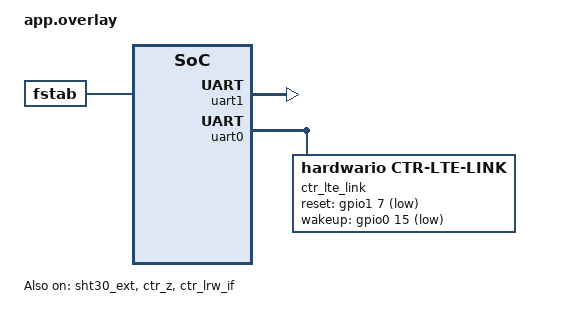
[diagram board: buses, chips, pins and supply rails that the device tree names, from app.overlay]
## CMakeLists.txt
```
#
# Copyright (c) 2024 HARDWARIO a.s.
#
# SPDX-License-Identifier: LicenseRef-HARDWARIO-5-Clause
#

cmake_minimum_required(VERSION 3.20.0)

set(ENV{FW_BUNDLE} "com.hardwario.chester.app.push")
set(ENV{FW_NAME} "CHESTER Push")

# Derive firmware version from git (see scripts/version.cmake); the fallback is
# used when git is unavailable at build time.
set(FW_VERSION_FALLBACK "v3.0.0")
include(${CMAKE_CURRENT_SOURCE_DIR}/../../scripts/version.cmake)

find_package(Zephyr REQUIRED HINTS $ENV{ZEPHYR_BASE})

project(chester-push)

include(${ZEPHYR_CHESTER_MODULE_DIR}/scripts/app_codec.cmake)

target_sources(app PRIVATE src/app_cbor.c)
target_sources(app PRIVATE src/app_config.c)
target_sources(app PRIVATE src/app_data.c)
target_sources(app PRIVATE src/app_handler.c)
target_sources(app PRIVATE src/app_init.c)
target_sources(app PRIVATE src/app_lrw.c)
target_sources(app PRIVATE src/app_send.c)
target_sources(app PRIVATE src/app_sensor.c)
target_sources(app PRIVATE src/app_shell.c)
target_sources(app PRIVATE src/app_work.c)
target_sources(app PRIVATE src/main.c)

target_precompile_headers(app PRIVATE src/feature.h)

# ### Preserved code "cmake" (begin)
# ^^^ Preserved code "cmake" (end)
```

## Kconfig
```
#
# Copyright (c) 2024 HARDWARIO a.s.
#
# SPDX-License-Identifier: LicenseRef-HARDWARIO-5-Clause
#

menu "Application"

# HARDWARE-CHESTER-S2
config SHIELD_CTR_S2
	bool "Enable SHIELD_CTR_S2"
	default y

config CTR_HYGRO
	default y
# HARDWARE-CHESTER-Z
config SHIELD_CTR_Z
	bool "Enable SHIELD_CTR_Z"
	default y

config CTR_Z
	default y

config I2C
	default y
# SUBSYSTEM-LRW
config SHIELD_CTR_LRW
	bool "Enable SHIELD_CTR_LRW"
	default y

config CTR_LRW
	default y
# SUBSYSTEM-LTE-V2
config SHIELD_CTR_LTE_V2
	bool "Enable SHIELD_CTR_LTE_V2"
	default y

config CTR_LTE_V2
	default y

# ### Preserved code "k_config" (begin)
# ^^^ Preserved code "k_config" (end)

rsource "Kconfig.variant"

endmenu

menu "Zephyr Kernel"
source "Kconfig.zephyr"
endmenu
```

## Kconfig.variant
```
#
# Copyright (c) 2024 HARDWARIO a.s.
#
# SPDX-License-Identifier: LicenseRef-HARDWARIO-5-Clause
#

config VARIANT_CHESTER_PUSH
    bool "Enable VARIANT_CHESTER_PUSH"
    default y
        
```

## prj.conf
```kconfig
#
# Copyright (c) 2024 HARDWARIO a.s.
#
# SPDX-License-Identifier: LicenseRef-HARDWARIO-5-Clause
#

# Configurations
# SUBSYSTEM-ACCEL
CONFIG_CTR_ACCEL=y
# SUBSYSTEM-BATT
CONFIG_CTR_BATT=y
# SUBSYSTEM-BLE-TAG
CONFIG_CTR_BLE_TAG=y
# SUBSYSTEM-BLUETOOTH
CONFIG_CTR_BLE=y
# SUBSYSTEM-BT-FILTER-ACCEPT-LIST
CONFIG_BT_FILTER_ACCEPT_LIST=y
# SUBSYSTEM-BT-OBSERVER
CONFIG_BT_OBSERVER=y
# SUBSYSTEM-BUF
CONFIG_CTR_BUF=y
# SUBSYSTEM-BUTTON
CONFIG_CTR_BUTTON=y
# SUBSYSTEM-CLOUD
CONFIG_CTR_CLOUD=y
CONFIG_SETTINGS_SHELL=y
CONFIG_IMG_MANAGER=y
CONFIG_BOOTLOADER_MCUBOOT=y
CONFIG_SPI=y
CONFIG_DFU_TARGET=y
CONFIG_DFU_TARGET_STREAM=y
CONFIG_DFU_TARGET_MCUBOOT=y
CONFIG_DFU_TARGET_LOG_LEVEL_DBG=y
CONFIG_STREAM_FLASH_ERASE=y
CONFIG_STREAM_FLASH=y
CONFIG_FILE_SYSTEM=y
CONFIG_FILE_SYSTEM_LITTLEFS=y
CONFIG_FILE_SYSTEM_MKFS=y
CONFIG_FILE_SYSTEM_SHELL=y
CONFIG_SETTINGS_FILE=y
CONFIG_SETTINGS_FILE_PATH="/lfs1/settings/run"
# SUBSYSTEM-CONFIG
CONFIG_CTR_CONFIG=y
# SUBSYSTEM-DEFAULTS
CONFIG_CTR_DEFAULTS=y
# SUBSYSTEM-ENTROPY-GENERATOR
CONFIG_ENTROPY_GENERATOR=y
# SUBSYSTEM-INFO
CONFIG_CTR_INFO=y
# SUBSYSTEM-LED
CONFIG_CTR_LED=y
# SUBSYSTEM-LOG
CONFIG_CTR_LOG=y
# SUBSYSTEM-LRW
CONFIG_CTR_LRW=y
# SUBSYSTEM-LTE-V2
CONFIG_CTR_LTE_V2=y
# SUBSYSTEM-POWER
CONFIG_CTR_POWER=y
# SUBSYSTEM-RTC
CONFIG_CTR_RTC=y
# SUBSYSTEM-SHELL
CONFIG_CTR_SHELL=y
# SUBSYSTEM-THERM
CONFIG_CTR_THERM=y
# SUBSYSTEM-WDOG
CONFIG_CTR_WDOG=y
# SUBSYSTEM-ZCBOR
CONFIG_ZCBOR=y
CONFIG_ZCBOR_STOP_ON_ERROR=y
# Extra configurations
CONFIG_ADC_NRFX_SAADC=n
CONFIG_ADC_SHELL=n
CONFIG_GPIO_SHELL=y
CONFIG_I2C_SHELL=y
CONFIG_ISR_TABLES_LOCAL_DECLARATION=y
CONFIG_LTO=y
CONFIG_MCUBOOT_SHELL=y

# ### Preserved code "config" (begin)
CONFIG_BUILD_OUTPUT_META=y
CONFIG_BUILD_OUTPUT_META_STATE_PROPAGATE=y
CONFIG_CTR_CLOUD_SPOOL=y
# ^^^ Preserved code "config" (end)
```

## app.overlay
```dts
/*
 * Copyright (c) 2024 HARDWARIO a.s.
 *
 * SPDX-License-Identifier: LicenseRef-HARDWARIO-5-Clause
 */

/* HARDWARE-CHESTER-S2  */
&sht30_ext {
	status = "okay";
};
/* HARDWARE-CHESTER-Z  */
&ctr_z {
	status = "okay";
};
/* SUBSYSTEM-CLOUD  */
/ {
	fstab {
		compatible = "zephyr,fstab";
		lfs1: lfs1 {
			compatible = "zephyr,fstab,littlefs";
			mount-point = "/lfs1";
			partition = <&littlefs_storage>;
			automount;
			read-size = <16>;
			prog-size = <16>;
			cache-size = <64>;
			lookahead-size = <32>;
			block-cycles = <512>;
		};
	};
};
/* SUBSYSTEM-LRW   */
&ctr_lrw_if {
	status = "okay";
};

&uart1 {
	status = "okay";
};
/* SUBSYSTEM-LTE-V2  */
/ {
	chosen {
		ctr,lte_link = &ctr_lte_link;
	};
};

&uart0 {
	status = "okay";

	ctr_lte_link: ctr_lte_link {
		compatible = "hardwario,ctr-lte-link";
		status = "okay";
		reset-gpios = <&gpio1 7 (GPIO_ACTIVE_LOW | GPIO_OPEN_DRAIN)>;
		wakeup-gpios = <&gpio0 15 (GPIO_ACTIVE_LOW | GPIO_OPEN_DRAIN)>;
	};
};

&uart0 {
	status = "okay";
};

/* ### Preserved code "overlay" (begin) */
/* ^^^ Preserved code "overlay" (end) */
```

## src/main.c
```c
/*
 * Copyright (c) 2024 HARDWARIO a.s.
 *
 * SPDX-License-Identifier: LicenseRef-HARDWARIO-5-Clause
 */

#include "app_config.h"
#include "app_init.h"

/* CHESTER includes */
#include <chester/ctr_led.h>
#include <chester/ctr_wdog.h>

/* Zephyr includes */
#include <zephyr/kernel.h>
#include <zephyr/logging/log.h>

/* Standard includes */
#include <stdbool.h>

LOG_MODULE_REGISTER(main, LOG_LEVEL_DBG);

extern struct ctr_wdog_channel g_app_wdog_channel;

int main(void)
{
	int ret;

	LOG_INF("Build time: " __DATE__ " " __TIME__);

	ret = app_init();
	if (ret) {
		LOG_ERR("Call `app_init` failed: %d", ret);
		k_oops();
	}

	for (;;) {
		LOG_INF("Alive");

		ret = ctr_wdog_feed(&g_app_wdog_channel);
		if (ret) {
			LOG_ERR("Call `ctr_wdog_feed` failed: %d", ret);
			k_oops();
		}

		if (g_app_config.mode == APP_CONFIG_MODE_NONE) {
			ctr_led_set(CTR_LED_CHANNEL_Y, true);
			k_sleep(K_MSEC(30));
			ctr_led_set(CTR_LED_CHANNEL_Y, false);
		} else {
			ctr_led_set(CTR_LED_CHANNEL_G, true);
			k_sleep(K_MSEC(30));
			ctr_led_set(CTR_LED_CHANNEL_G, false);
		}

		k_sleep(K_SECONDS(5));
	}

	return 0;
}
```

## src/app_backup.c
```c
/*
 * Copyright (c) 2024 HARDWARIO a.s.
 *
 * SPDX-License-Identifier: LicenseRef-HARDWARIO-5-Clause
 */

#include "app_backup.h"
#include "app_data.h"

/* CHESTER includes */
#include <chester/drivers/ctr_z.h>

/* Zephyr includes */
#include <zephyr/device.h>
#include <zephyr/devicetree.h>
#include <zephyr/kernel.h>
#include <zephyr/logging/log.h>

/* Standard includes */
#include <errno.h>
#include <math.h>
#include <stdbool.h>

LOG_MODULE_REGISTER(app_backup, LOG_LEVEL_DBG);

#if defined(FEATURE_HARDWARE_CHESTER_Z)

int app_backup_sample(void)
{
	int ret;

	static const struct device *dev = DEVICE_DT_GET(DT_NODELABEL(ctr_z));

	if (!device_is_ready(dev)) {
		LOG_ERR("Device not ready");
		ret = -ENODEV;
		goto error;
	}

	struct ctr_z_status status;
	ret = ctr_z_get_status(dev, &status);
	if (ret) {
		LOG_ERR("Call `ctr_z_get_status` failed: %d", ret);
		goto error;
	}

	LOG_INF("DC input connected: %d", status.dc_input_connected);

	uint16_t vdc;
	ret = ctr_z_get_vdc_mv(dev, &vdc);
	if (ret) {
		LOG_ERR("Call `ctr_z_get_vdc_mv` failed: %d", ret);
		goto error;
	}

	LOG_INF("Voltage DC input: %u mV", vdc);

	uint16_t vbat;
	ret = ctr_z_get_vbat_mv(dev, &vbat);
	if (ret) {
		LOG_ERR("Call `ctr_z_get_vbat_mv` failed: %d", ret);
		goto error;
	}

	LOG_INF("Voltage backup battery: %u mV", vbat);

	app_data_lock();
	g_app_data.backup.line_present = status.dc_input_connected;
	g_app_data.backup.line_voltage = vdc / 1000.f;
	g_app_data.backup.battery_voltage = vbat / 1000.f;
	app_data_unlock();

	return 0;

error:
	app_data_lock();
	g_app_data.backup.line_present = false;
	g_app_data.backup.line_voltage = NAN;
	g_app_data.backup.battery_voltage = NAN;
	app_data_unlock();

	return ret;
}

int app_backup_clear(void)
{
	app_data_lock();
	g_app_data.backup.event_count = 0;

	for (int i = 0; i < APP_DATA_BUTTON_COUNT; i++) {
		g_app_data.button[i].event_count = 0;
	}
	app_data_unlock();

	return 0;
}

#endif /* defined(FEATURE_HARDWARE_CHESTER_Z) */
```

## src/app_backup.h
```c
/*
 * Copyright (c) 2024 HARDWARIO a.s.
 *
 * SPDX-License-Identifier: LicenseRef-HARDWARIO-5-Clause
 */

#ifndef APP_BACKUP_H_
#define APP_BACKUP_H_

#ifdef __cplusplus
extern "C" {
#endif

int app_backup_sample(void);
int app_backup_clear(void);

#ifdef __cplusplus
}
#endif

#endif /* APP_BACKUP_H_ */
```

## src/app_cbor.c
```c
/*
 * Copyright (c) 2024 HARDWARIO a.s.
 *
 * SPDX-License-Identifier: LicenseRef-HARDWARIO-5-Clause
 */

#include "app_cbor.h"
#include "app_codec.h"
#include "app_config.h"
#include "app_data.h"
#include "feature.h"

/* CHESTER includes */
#include <chester/ctr_info.h>
#include <chester/ctr_lte_v2.h>
#include <chester/ctr_rtc.h>
#include <chester/ctr_util.h>

/* Zephyr includes */
#include <zephyr/kernel.h>
#include <zephyr/logging/log.h>

#include <zcbor_common.h>
#include <zcbor_decode.h>
#include <zcbor_encode.h>

/* Standard includes */
#include <errno.h>
#include <math.h>
#include <stdbool.h>
#include <stddef.h>
#include <stdint.h>
#include <stdlib.h>

/* ### Preserved code "functions" (begin) */
#include <chester/ctr_power.h>

__unused static void put_sample_mul(zcbor_state_t *zs, struct ctr_data_aggreg *sample, float mul)
{
	if (isnan(sample->min)) {
		zcbor_nil_put(zs, NULL);
	} else {
		int32_t v = sample->min * mul;
		zcbor_int32_put(zs, v);
	}

	if (isnan(sample->max)) {
		zcbor_nil_put(zs, NULL);
	} else {
		int32_t v = sample->max * mul;
		zcbor_int32_put(zs, v);
	}

	if (isnan(sample->avg)) {
		zcbor_nil_put(zs, NULL);
	} else {
		int32_t v = sample->avg * mul;
		zcbor_int32_put(zs, v);
	}

	if (isnan(sample->mdn)) {
		zcbor_nil_put(zs, NULL);
	} else {
		int32_t v = sample->mdn * mul;
		zcbor_int32_put(zs, v);
	}
}

__unused static void put_sample(zcbor_state_t *zs, struct ctr_data_aggreg *sample)
{
	put_sample_mul(zs, sample, 1.f);
}
/* ^^^ Preserved code "functions" (end) */

LOG_MODULE_REGISTER(app_cbor, LOG_LEVEL_DBG);

static int encode(zcbor_state_t *zs)
{
	int ret;

	zs->constant_state->stop_on_error = true;

	zcbor_map_start_encode(zs, ZCBOR_VALUE_IS_INDEFINITE_LENGTH);

	/* ### Preserved code "message" (begin) */

	zcbor_uint32_put(zs, CODEC_KEY_E_MESSAGE);
	{
		zcbor_map_start_encode(zs, ZCBOR_VALUE_IS_INDEFINITE_LENGTH);

		zcbor_uint32_put(zs, CODEC_KEY_E_MESSAGE__VERSION);
		zcbor_uint32_put(zs, 1);

		zcbor_uint32_put(zs, CODEC_KEY_E_MESSAGE__SEQUENCE);
		static uint32_t sequence;
		zcbor_uint32_put(zs, sequence++);

		uint64_t timestamp;
		ret = ctr_rtc_get_ts(&timestamp);
		if (ret) {
			LOG_ERR("Call `ctr_rtc_get_ts` failed: %d", ret);
			return ret;
		}
		zcbor_uint32_put(zs, CODEC_KEY_E_MESSAGE__TIMESTAMP);
		zcbor_uint64_put(zs, timestamp);

		zcbor_map_end_encode(zs, ZCBOR_VALUE_IS_INDEFINITE_LENGTH);
	}

	/* ^^^ Preserved code "message" (end) */

	/* ### Preserved code "attribute" (begin) */

	zcbor_uint32_put(zs, CODEC_KEY_E_ATTRIBUTE);
	{
		zcbor_map_start_encode(zs, ZCBOR_VALUE_IS_INDEFINITE_LENGTH);

		char *vendor_name;
		ctr_info_get_vendor_name(&vendor_name);

		zcbor_uint32_put(zs, CODEC_KEY_E_ATTRIBUTE__VENDOR_NAME);
		zcbor_tstr_put_term(zs, vendor_name, CONFIG_ZCBOR_MAX_STR_LEN);

		char *product_name;
		ctr_info_get_product_name(&product_name);

		zcbor_uint32_put(zs, CODEC_KEY_E_ATTRIBUTE__PRODUCT_NAME);
		zcbor_tstr_put_term(zs, product_name, CONFIG_ZCBOR_MAX_STR_LEN);

		char *hw_variant;
		ctr_info_get_hw_variant(&hw_variant);

		zcbor_uint32_put(zs, CODEC_KEY_E_ATTRIBUTE__HW_VARIANT);
		zcbor_tstr_put_term(zs, hw_variant, CONFIG_ZCBOR_MAX_STR_LEN);

		char *hw_revision;
		ctr_info_get_hw_revision(&hw_revision);

		zcbor_uint32_put(zs, CODEC_KEY_E_ATTRIBUTE__HW_REVISION);
		zcbor_tstr_put_term(zs, hw_revision, CONFIG_ZCBOR_MAX_STR_LEN);

		char *fw_version;
		ctr_info_get_fw_version(&fw_version);

		zcbor_uint32_put(zs, CODEC_KEY_E_ATTRIBUTE__FW_VERSION);
		zcbor_tstr_put_term(zs, fw_version, CONFIG_ZCBOR_MAX_STR_LEN);

		char *serial_number;
		ctr_info_get_serial_number(&serial_number);

		zcbor_uint32_put(zs, CODEC_KEY_E_ATTRIBUTE__SERIAL_NUMBER);
		zcbor_tstr_put_term(zs, serial_number, CONFIG_ZCBOR_MAX_STR_LEN);

		zcbor_map_end_encode(zs, ZCBOR_VALUE_IS_INDEFINITE_LENGTH);
	}

	/* ^^^ Preserved code "attribute" (end) */

	/* ### Preserved code "system" (begin) */

	zcbor_uint32_put(zs, CODEC_KEY_E_SYSTEM);
	{
		zcbor_map_start_encode(zs, ZCBOR_VALUE_IS_INDEFINITE_LENGTH);

		zcbor_uint32_put(zs, CODEC_KEY_E_SYSTEM__UPTIME);
		zcbor_uint32_put(zs, k_uptime_get() / 1000);

		zcbor_map_end_encode(zs, ZCBOR_VALUE_IS_INDEFINITE_LENGTH);
	}

	/* ^^^ Preserved code "system" (end) */

	/* ### Preserved code "network" (begin) */

	zcbor_uint32_put(zs, CODEC_KEY_E_NETWORK);
	{
		zcbor_map_start_encode(zs, ZCBOR_VALUE_IS_INDEFINITE_LENGTH);

		zcbor_uint32_put(zs, CODEC_KEY_E_NETWORK__PARAMETER);
		{
			zcbor_map_start_encode(zs, ZCBOR_VALUE_IS_INDEFINITE_LENGTH);

			static struct ctr_lte_v2_conn_param conn_param;
			ret = ctr_lte_v2_get_conn_param(&conn_param);
			if (ret) {
				LOG_ERR("Call `ctr_lte_v2_state_get_conn_param` failed: %d", ret);
				return ret;
			}

			zcbor_uint32_put(zs, CODEC_KEY_E_NETWORK__PARAMETER__EEST);
			if (conn_param.valid) {
				zcbor_int32_put(zs, conn_param.eest);
			} else {
				zcbor_nil_put(zs, NULL);
			}

			zcbor_uint32_put(zs, CODEC_KEY_E_NETWORK__PARAMETER__ECL);
			if (conn_param.valid) {
				zcbor_int32_put(zs, conn_param.ecl);
			} else {
				zcbor_nil_put(zs, NULL);
			}

			zcbor_uint32_put(zs, CODEC_KEY_E_NETWORK__PARAMETER__RSRP);
			if (conn_param.valid) {
				zcbor_int32_put(zs, conn_param.rsrp);
			} else {
				zcbor_nil_put(zs, NULL);
			}

			zcbor_uint32_put(zs, CODEC_KEY_E_NETWORK__PARAMETER__RSRQ);
			if (conn_param.valid) {
				zcbor_int32_put(zs, conn_param.rsrq);
			} else {
				zcbor_nil_put(zs, NULL);
			}

			zcbor_uint32_put(zs, CODEC_KEY_E_NETWORK__PARAMETER__SNR);
			if (conn_param.valid) {
				zcbor_int32_put(zs, conn_param.snr);
			} else {
				zcbor_nil_put(zs, NULL);
			}

			zcbor_uint32_put(zs, CODEC_KEY_E_NETWORK__PARAMETER__PLMN);
			if (conn_param.valid) {
				zcbor_int32_put(zs, conn_param.plmn);
			} else {
				zcbor_nil_put(zs, NULL);
			}

			zcbor_uint32_put(zs, CODEC_KEY_E_NETWORK__PARAMETER__CID);
			if (conn_param.valid) {
				zcbor_int32_put(zs, conn_param.cid);
			} else {
				zcbor_nil_put(zs, NULL);
			}

			zcbor_uint32_put(zs, CODEC_KEY_E_NETWORK__PARAMETER__BAND);
			if (conn_param.valid) {
				zcbor_int32_put(zs, conn_param.band);
			} else {
				zcbor_nil_put(zs, NULL);
			}

			zcbor_uint32_put(zs, CODEC_KEY_E_NETWORK__PARAMETER__EARFCN);
			if (conn_param.valid) {
				zcbor_int32_put(zs, conn_param.earfcn);
			} else {
				zcbor_nil_put(zs, NULL);
			}

			zcbor_map_end_encode(zs, ZCBOR_VALUE_IS_INDEFINITE_LENGTH);
		}

		zcbor_map_end_encode(zs, ZCBOR_VALUE_IS_INDEFINITE_LENGTH);
	}

	/* ^^^ Preserved code "network" (end) */

	/* ### Preserved code "thermometer" (begin) */

	zcbor_uint32_put(zs, CODEC_KEY_E_THERMOMETER);
	{
		zcbor_map_start_encode(zs, ZCBOR_VALUE_IS_INDEFINITE_LENGTH);

		zcbor_uint32_put(zs, CODEC_KEY_E_THERMOMETER__TEMPERATURE);
		if (isnan(g_app_data.therm_temperature)) {
			zcbor_nil_put(zs, NULL);
		} else {
			zcbor_int32_put(zs, g_app_data.therm_temperature * 100.f);
		}

		zcbor_map_end_encode(zs, ZCBOR_VALUE_IS_INDEFINITE_LENGTH);
	}

	/* ^^^ Preserved code "thermometer" (end) */

	/* ### Preserved code "accelerometer" (begin) */

	zcbor_uint32_put(zs, CODEC_KEY_E_ACCELEROMETER);
	{
		zcbor_map_start_encode(zs, ZCBOR_VALUE_IS_INDEFINITE_LENGTH);

		zcbor_uint32_put(zs, CODEC_KEY_E_ACCELEROMETER__ACCEL_X);
		if (isnan(g_app_data.accel_acceleration_x)) {
			zcbor_nil_put(zs, NULL);
		} else {
			zcbor_int32_put(zs, g_app_data.accel_acceleration_x * 1000.f);
		}

		zcbor_uint32_put(zs, CODEC_KEY_E_ACCELEROMETER__ACCEL_Y);
		if (isnan(g_app_data.accel_acceleration_y)) {
			zcbor_nil_put(zs, NULL);
		} else {
			zcbor_int32_put(zs, g_app_data.accel_acceleration_y * 1000.f);
		}

		zcbor_uint32_put(zs, CODEC_KEY_E_ACCELEROMETER__ACCEL_Z);
		if (isnan(g_app_data.accel_acceleration_z)) {
			zcbor_nil_put(zs, NULL);
		} else {
			zcbor_int32_put(zs, g_app_data.accel_acceleration_z * 1000.f);
		}

		zcbor_uint32_put(zs, CODEC_KEY_E_ACCELEROMETER__ORIENTATION);
		if (g_app_data.accel_orientation == INT_MAX) {
			zcbor_nil_put(zs, NULL);
		} else {
			zcbor_uint32_put(zs, g_app_data.accel_orientation);
		}

		zcbor_map_end_encode(zs, ZCBOR_VALUE_IS_INDEFINITE_LENGTH);
	}

	/* ^^^ Preserved code "accelerometer" (end) */

	/* ### Preserved code "power" (begin) */

#if defined(FEATURE_SUBSYSTEM_POWER)
	ret = ctr_power_cbor_encode(zs);
	if (ret) {
		LOG_ERR("Call `ctr_power_cbor_encode` failed: %d", ret);
		return ret;
	}
#endif /* defined(FEATURE_SUBSYSTEM_POWER) */

	/* ^^^ Preserved code "power" (end) */

	/* ### Preserved code "buttons" (begin) */

#if defined(FEATURE_HARDWARE_CHESTER_Z)
	zcbor_uint32_put(zs, CODEC_KEY_E_BUTTONS);
	{
		zcbor_list_start_encode(zs, ZCBOR_VALUE_IS_INDEFINITE_LENGTH);
		{
			for (int btn_idx = 0; btn_idx < APP_DATA_BUTTON_COUNT; btn_idx++) {

				struct app_data_button *button = &g_app_data.button[btn_idx];

				zcbor_map_start_encode(zs, ZCBOR_VALUE_IS_INDEFINITE_LENGTH);

				zcbor_uint32_put(zs, CODEC_KEY_E_BUTTONS__BUTTON);
				zcbor_int32_put(zs, btn_idx);

				zcbor_uint32_put(zs, CODEC_KEY_E_BUTTONS__COUNT_CLICK);
				zcbor_int32_put(zs, button->click_count);

				zcbor_uint32_put(zs, CODEC_KEY_E_BUTTONS__COUNT_HOLD);
				zcbor_int32_put(zs, button->hold_count);

				if (button->event_count) {
					struct app_data_button_event *last_press =
						&button->events[button->event_count - 1];

					zcbor_uint32_put(zs, CODEC_KEY_E_BUTTONS__LAST_PRESS);
					{
						zcbor_map_start_encode(
							zs, ZCBOR_VALUE_IS_INDEFINITE_LENGTH);

						zcbor_uint32_put(
							zs, CODEC_KEY_E_BUTTONS__LAST_PRESS__TYPE);
						zcbor_uint32_put(zs, last_press->type);

						zcbor_uint32_put(
							zs,
							CODEC_KEY_E_BUTTONS__LAST_PRESS__TIMESTAMP);
						zcbor_int64_put(zs, last_press->timestamp);

						zcbor_map_end_encode(
							zs, ZCBOR_VALUE_IS_INDEFINITE_LENGTH);
					}

					int64_t timestamp_abs = button->events[0].timestamp;
					zcbor_uint32_put(zs, CODEC_KEY_E_BUTTONS__EVENTS);
					{
						zcbor_list_start_encode(
							zs, ZCBOR_VALUE_IS_INDEFINITE_LENGTH);

						/* TSO absolute timestamp */
						zcbor_int64_put(zs, timestamp_abs);

						for (int i = 0; i < button->event_count; i++) {
							/* TSO offset timestamp */
							zcbor_int64_put(
								zs, button->events[i].timestamp -
									    timestamp_abs);
							zcbor_uint32_put(zs,
									 button->events[i].type);
						}

						zcbor_list_end_encode(
							zs, ZCBOR_VALUE_IS_INDEFINITE_LENGTH);
					}
				}
				zcbor_map_end_encode(zs, ZCBOR_VALUE_IS_INDEFINITE_LENGTH);
			}
		}
		zcbor_list_end_encode(zs, ZCBOR_VALUE_IS_INDEFINITE_LENGTH);
	}
#endif /* defined(FEATURE_HARDWARE_CHESTER_Z) */

	/* ^^^ Preserved code "buttons" (end) */

	/* ### Preserved code "tamper" (begin) */

#if defined(CONFIG_APP_TAMPER)
	zcbor_uint32_put(zs, CODEC_KEY_E_TAMPER);
	{
		zcbor_map_start_encode(zs, ZCBOR_VALUE_IS_INDEFINITE_LENGTH);

		zcbor_uint32_put(zs, CODEC_KEY_E_TAMPER__STATE);
		zcbor_uint32_put(zs, g_app_data.tamper.activated ? 1 : 0);

		if (g_app_data.tamper.event_count) {
			int64_t timestamp_abs = g_app_data.tamper.events[0].timestamp;

			zcbor_uint32_put(zs, CODEC_KEY_E_TAMPER__EVENTS);
			{
				zcbor_list_start_encode(zs, ZCBOR_VALUE_IS_INDEFINITE_LENGTH);

				/* TSO absolute timestamp */
				zcbor_int64_put(zs, timestamp_abs);

				for (int i = 0; i < g_app_data.tamper.event_count; i++) {
					/* TSO offset timestamp */
					zcbor_int64_put(zs, g_app_data.tamper.events[i].timestamp -
								    timestamp_abs);
					zcbor_uint32_put(
						zs, g_app_data.tamper.events[i].activated ? 1 : 0);
				}

				zcbor_list_end_encode(zs, ZCBOR_VALUE_IS_INDEFINITE_LENGTH);
			}
		} else {
			zcbor_uint32_put(zs, CODEC_KEY_E_TAMPER__EVENTS);
			{
				zcbor_list_start_encode(zs, ZCBOR_VALUE_IS_INDEFINITE_LENGTH);
				zcbor_list_end_encode(zs, ZCBOR_VALUE_IS_INDEFINITE_LENGTH);
			}
		}

		zcbor_map_end_encode(zs, ZCBOR_VALUE_IS_INDEFINITE_LENGTH);
	}
#endif /* defined(CONFIG_APP_TAMPER) */

	/* ^^^ Preserved code "tamper" (end) */

	/* ### Preserved code "ble_tags" (begin) */

#if defined(FEATURE_SUBSYSTEM_BLE_TAG)
	zcbor_int32_put(zs, CODEC_KEY_E_BLE_TAGS);
	{
		zcbor_list_start_encode(zs, ZCBOR_VALUE_IS_INDEFINITE_LENGTH);
		for (int i = 0; i < CTR_BLE_TAG_COUNT; i++) {
			struct app_data_ble_tag_sensor *sensor = &g_app_data.ble_tag.sensor[i];

			if (ctr_ble_tag_is_addr_empty(sensor->addr)) {
				continue;
			}

			zcbor_map_start_encode(zs, ZCBOR_VALUE_IS_INDEFINITE_LENGTH);
			{

				zcbor_uint32_put(zs, CODEC_KEY_E_BLE_TAGS__ADDR);
				{
					char addr_str[BT_ADDR_SIZE * 2 + 1] = {0};
					ctr_buf2hex(sensor->addr, BT_ADDR_SIZE, addr_str,
						    BT_ADDR_SIZE * 2 + 1, false);
					zcbor_tstr_put_lit(zs, addr_str);
				}

				zcbor_uint32_put(zs, CODEC_KEY_E_BLE_TAGS__RSSI);
				if (sensor->rssi < 0) {
					zcbor_int32_put(zs, sensor->rssi);
				} else {
					zcbor_nil_put(zs, NULL);
				}

				zcbor_uint32_put(zs, CODEC_KEY_E_BLE_TAGS__VOLTAGE);
				if (!isnan(sensor->voltage)) {
					zcbor_uint32_put(zs, sensor->voltage * 100.f);
				} else {
					zcbor_nil_put(zs, NULL);
				}

				zcbor_uint32_put(zs, CODEC_KEY_E_BLE_TAGS__TEMPERATURE);
				{
					zcbor_map_start_encode(zs,
							       ZCBOR_VALUE_IS_INDEFINITE_LENGTH);
					zcbor_uint32_put(
						zs,
						CODEC_KEY_E_BLE_TAGS__TEMPERATURE__MEASUREMENTS);
					{
						zcbor_list_start_encode(
							zs, ZCBOR_VALUE_IS_INDEFINITE_LENGTH);

						zcbor_uint64_put(zs, g_app_data.ble_tag.timestamp);
						zcbor_uint32_put(zs, g_app_config.interval_aggreg);

						for (int j = 0; j < sensor->measurement_count;
						     j++) {
							put_sample_mul(zs,
								       &sensor->measurements[j]
										.temperature,
								       100.f);
						}
						zcbor_list_end_encode(
							zs, ZCBOR_VALUE_IS_INDEFINITE_LENGTH);
					}
					zcbor_map_end_encode(zs, ZCBOR_VALUE_IS_INDEFINITE_LENGTH);
				}

				zcbor_int32_put(zs, CODEC_KEY_E_BLE_TAGS__HUMIDITY);
				{
					zcbor_map_start_encode(zs,
							       ZCBOR_VALUE_IS_INDEFINITE_LENGTH);
					zcbor_uint32_put(
						zs, CODEC_KEY_E_BLE_TAGS__HUMIDITY__MEASUREMENTS);
					{
						zcbor_list_start_encode(
							zs, ZCBOR_VALUE_IS_INDEFINITE_LENGTH);

						zcbor_uint64_put(zs, g_app_data.ble_tag.timestamp);
						zcbor_uint32_put(zs, g_app_config.interval_aggreg);

						for (int j = 0; j < sensor->measurement_count;
						     j++) {
							put_sample_mul(
								zs,
								&sensor->measurements[j].humidity,
								100.f);
						}
						zcbor_list_end_encode(
							zs, ZCBOR_VALUE_IS_INDEFINITE_LENGTH);
					}
					zcbor_map_end_encode(zs, ZCBOR_VALUE_IS_INDEFINITE_LENGTH);
				}
			}

			zcbor_map_end_encode(zs, ZCBOR_VALUE_IS_INDEFINITE_LENGTH);
		}

		zcbor_list_end_encode(zs, ZCBOR_VALUE_IS_INDEFINITE_LENGTH);
	}
#endif /* defined(FEATURE_SUBSYSTEM_BLE_TAG) */

	/* ^^^ Preserved code "ble_tags" (end) */

	zcbor_map_end_encode(zs, ZCBOR_VALUE_IS_INDEFINITE_LENGTH);

	if (!zcbor_check_error(zs)) {
		LOG_ERR("Encoding failed: %d", zcbor_pop_error(zs));
		return -EFAULT;
	}

	return 0;
}

int app_cbor_encode(zcbor_state_t *zs)
{
	int ret;

	app_data_lock();

	ret = encode(zs);
	if (ret) {
		LOG_ERR("Call `encode` failed: %d", ret);
		app_data_unlock();
		return ret;
	}

	app_data_unlock();

	return 0;
}

static int decode(zcbor_state_t *zs, struct app_cbor_received *received)
{
	memset(received, 0, sizeof(struct app_cbor_received));

	if (!zcbor_map_start_decode(zs)) {
		return -EBADMSG;
	}

	uint32_t key;
	bool ok;

	while (1) {
		if (!zcbor_uint32_decode(zs, &key)) {
			break;
		}

		switch (key) {

		case CODEC_KEY_D_VERSION:
			ok = zcbor_int32_decode(zs, &received->version);
			received->has_version = true;
			break;

		case CODEC_KEY_D_LED_BUTTON_0:
			ok = zcbor_int32_decode(zs, &received->led_button_0);
			received->has_led_button_0 = true;
			break;

		case CODEC_KEY_D_LED_BUTTON_1:
			ok = zcbor_int32_decode(zs, &received->led_button_1);
			received->has_led_button_1 = true;
			break;

		case CODEC_KEY_D_LED_BUTTON_2:
			ok = zcbor_int32_decode(zs, &received->led_button_2);
			received->has_led_button_2 = true;
			break;

		case CODEC_KEY_D_LED_BUTTON_3:
			ok = zcbor_int32_decode(zs, &received->led_button_3);
			received->has_led_button_3 = true;
			break;

		case CODEC_KEY_D_LED_BUTTON_4:
			ok = zcbor_int32_decode(zs, &received->led_button_4);
			received->has_led_button_4 = true;
			break;

		default:
			ok = zcbor_any_skip(zs, NULL);
			break;
		}

		if (!ok) {
			LOG_ERR("Encoding failed: %d", zcbor_peek_error(zs));
			return -EBADMSG;
		}
	}

	if (!zcbor_map_end_decode(zs)) {
		return -EBADMSG;
	}

	return 0;
}

int app_cbor_decode(zcbor_state_t *zs, struct app_cbor_received *received)
{
	return decode(zs, received);
}
```

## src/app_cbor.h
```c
/*
 * Copyright (c) 2024 HARDWARIO a.s.
 *
 * SPDX-License-Identifier: LicenseRef-HARDWARIO-5-Clause
 */

#ifndef APP_CBOR_H_
#define APP_CBOR_H_

/* Zephyr includes */
#include <zephyr/kernel.h>

#include <zcbor_common.h>

#ifdef __cplusplus
extern "C" {
#endif

struct app_cbor_received {
	bool has_version;
	int32_t version;
	bool has_led_button_0;
	int32_t led_button_0;
	bool has_led_button_1;
	int32_t led_button_1;
	bool has_led_button_2;
	int32_t led_button_2;
	bool has_led_button_3;
	int32_t led_button_3;
	bool has_led_button_4;
	int32_t led_button_4;
};

int app_cbor_encode(zcbor_state_t *zs);
int app_cbor_decode(zcbor_state_t *zs, struct app_cbor_received *received);

#ifdef __cplusplus
}
#endif

#endif /* APP_CBOR_H_ */
```

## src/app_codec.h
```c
#ifndef CODEC_H_
#define CODEC_H_

/* This file has been generated using the script gen-codec.py */

#ifdef __cplusplus
extern "C" {
#endif

#define CODEC_CLOUD_DECODER_HASH ((uint64_t)0x8f813731b8ad37ac)
#define CODEC_CLOUD_ENCODER_HASH ((uint64_t)0x7e46ae4efd24f588)

enum codec_key_e {
	CODEC_KEY_E_MESSAGE = 0,
	CODEC_KEY_E_MESSAGE__VERSION = 1,
	CODEC_KEY_E_MESSAGE__SEQUENCE = 2,
	CODEC_KEY_E_MESSAGE__TIMESTAMP = 3,
	CODEC_KEY_E_ATTRIBUTE = 4,
	CODEC_KEY_E_ATTRIBUTE__VENDOR_NAME = 5,
	CODEC_KEY_E_ATTRIBUTE__PRODUCT_NAME = 6,
	CODEC_KEY_E_ATTRIBUTE__HW_VARIANT = 7,
	CODEC_KEY_E_ATTRIBUTE__HW_REVISION = 8,
	CODEC_KEY_E_ATTRIBUTE__FW_VERSION = 9,
	CODEC_KEY_E_ATTRIBUTE__SERIAL_NUMBER = 10,
	CODEC_KEY_E_SYSTEM = 11,
	CODEC_KEY_E_SYSTEM__UPTIME = 12,
	CODEC_KEY_E_SYSTEM__VOLTAGE_LOAD = 13,
	CODEC_KEY_E_SYSTEM__VOLTAGE_REST = 14,
	CODEC_KEY_E_SYSTEM__CURRENT_LOAD = 15,
	CODEC_KEY_E_NETWORK = 16,
	CODEC_KEY_E_NETWORK__PARAMETER = 17,
	CODEC_KEY_E_NETWORK__PARAMETER__EEST = 18,
	CODEC_KEY_E_NETWORK__PARAMETER__ECL = 19,
	CODEC_KEY_E_NETWORK__PARAMETER__RSRP = 20,
	CODEC_KEY_E_NETWORK__PARAMETER__RSRQ = 21,
	CODEC_KEY_E_NETWORK__PARAMETER__SNR = 22,
	CODEC_KEY_E_NETWORK__PARAMETER__PLMN = 23,
	CODEC_KEY_E_NETWORK__PARAMETER__CID = 24,
	CODEC_KEY_E_NETWORK__PARAMETER__BAND = 25,
	CODEC_KEY_E_NETWORK__PARAMETER__EARFCN = 26,
	CODEC_KEY_E_THERMOMETER = 27,
	CODEC_KEY_E_THERMOMETER__TEMPERATURE = 28,
	CODEC_KEY_E_ACCELEROMETER = 29,
	CODEC_KEY_E_ACCELEROMETER__ACCEL_X = 30,
	CODEC_KEY_E_ACCELEROMETER__ACCEL_Y = 31,
	CODEC_KEY_E_ACCELEROMETER__ACCEL_Z = 32,
	CODEC_KEY_E_ACCELEROMETER__ORIENTATION = 33,
	CODEC_KEY_E_BACKUP = 34,
	CODEC_KEY_E_BACKUP__LINE_VOLTAGE = 35,
	CODEC_KEY_E_BACKUP__BATT_VOLTAGE = 36,
	CODEC_KEY_E_BACKUP__STATE = 37,
	CODEC_KEY_E_BACKUP__EVENTS = 38,
	CODEC_KEY_E_BUTTONS = 39,
	CODEC_KEY_E_BUTTONS__BUTTON = 40,
	CODEC_KEY_E_BUTTONS__COUNT_CLICK = 41,
	CODEC_KEY_E_BUTTONS__COUNT_HOLD = 42,
	CODEC_KEY_E_BUTTONS__EVENTS = 43,
	CODEC_KEY_E_BUTTONS__LAST_PRESS = 44,
	CODEC_KEY_E_BUTTONS__LAST_PRESS__TYPE = 45,
	CODEC_KEY_E_BUTTONS__LAST_PRESS__TIMESTAMP = 46,
	CODEC_KEY_E_TAMPER = 47,
	CODEC_KEY_E_TAMPER__STATE = 48,
	CODEC_KEY_E_TAMPER__EVENTS = 49,
	CODEC_KEY_E_BLE_TAGS = 50,
	CODEC_KEY_E_BLE_TAGS__ADDR = 51,
	CODEC_KEY_E_BLE_TAGS__RSSI = 52,
	CODEC_KEY_E_BLE_TAGS__VOLTAGE = 53,
	CODEC_KEY_E_BLE_TAGS__TEMPERATURE = 54,
	CODEC_KEY_E_BLE_TAGS__TEMPERATURE__MEASUREMENTS = 55,
	CODEC_KEY_E_BLE_TAGS__HUMIDITY = 56,
	CODEC_KEY_E_BLE_TAGS__HUMIDITY__MEASUREMENTS = 57,
};

enum codec_key_d {
	CODEC_KEY_D_VERSION = 0,
	CODEC_KEY_D_LED_BUTTON_0 = 1,
	CODEC_KEY_D_LED_BUTTON_1 = 2,
	CODEC_KEY_D_LED_BUTTON_2 = 3,
	CODEC_KEY_D_LED_BUTTON_3 = 4,
	CODEC_KEY_D_LED_BUTTON_4 = 5,
};

#define CODEC_CLOUD_OPTIONS_STATIC(_name) \
	static const uint8_t _name##_cloud_decoder[] = CLOUD_DECODER_BUFFER; \
	static const uint8_t _name##_cloud_encoder[] = CLOUD_ENCODER_BUFFER; \
	static struct ctr_cloud_options _name = { \
		.decoder_hash = CODEC_CLOUD_DECODER_HASH, \
		.encoder_hash = CODEC_CLOUD_ENCODER_HASH, \
		.decoder_buf = _name##_cloud_decoder, \
		.decoder_len = 1273, \
		.encoder_buf = _name##_cloud_encoder, \
		.encoder_len = 219, \
}

#define CLOUD_DECODER_BUFFER { \
	0xa4, 0x67, 0x76, 0x65, 0x72, 0x73, 0x69, 0x6f, \
	0x6e, 0x02, 0x64, 0x74, 0x79, 0x70, 0x65, 0x67, \
	0x64, 0x65, 0x63, 0x6f, 0x64, 0x65, 0x72, 0x64, \
	0x6e, 0x61, 0x6d, 0x65, 0x78, 0x1e, 0x63, 0x6f, \
	0x6d, 0x2e, 0x68, 0x61, 0x72, 0x64, 0x77, 0x61, \
	0x72, 0x69, 0x6f, 0x2e, 0x63, 0x68, 0x65, 0x73, \
	0x74, 0x65, 0x72, 0x2e, 0x61, 0x70, 0x70, 0x2e, \
	0x70, 0x75, 0x73, 0x68, 0x66, 0x73, 0x63, 0x68, \
	0x65, 0x6d, 0x61, 0x8a, 0xa1, 0x67, 0x6d, 0x65, \
	0x73, 0x73, 0x61, 0x67, 0x65, 0x83, 0xa1, 0x67, \
	0x76, 0x65, 0x72, 0x73, 0x69, 0x6f, 0x6e, 0xf6, \
	0xa1, 0x68, 0x73, 0x65, 0x71, 0x75, 0x65, 0x6e, \
	0x63, 0x65, 0xf6, 0xa1, 0x69, 0x74, 0x69, 0x6d, \
	0x65, 0x73, 0x74, 0x61, 0x6d, 0x70, 0xf6, 0xa1, \
	0x69, 0x61, 0x74, 0x74, 0x72, 0x69, 0x62, 0x75, \
	0x74, 0x65, 0x86, 0xa1, 0x6b, 0x76, 0x65, 0x6e, \
	0x64, 0x6f, 0x72, 0x5f, 0x6e, 0x61, 0x6d, 0x65, \
	0xf6, 0xa1, 0x6c, 0x70, 0x72, 0x6f, 0x64, 0x75, \
	0x63, 0x74, 0x5f, 0x6e, 0x61, 0x6d, 0x65, 0xf6, \
	0xa1, 0x6a, 0x68, 0x77, 0x5f, 0x76, 0x61, 0x72, \
	0x69, 0x61, 0x6e, 0x74, 0xf6, 0xa1, 0x6b, 0x68, \
	0x77, 0x5f, 0x72, 0x65, 0x76, 0x69, 0x73, 0x69, \
	0x6f, 0x6e, 0xf6, 0xa1, 0x6a, 0x66, 0x77, 0x5f, \
	0x76, 0x65, 0x72, 0x73, 0x69, 0x6f, 0x6e, 0xf6, \
	0xa1, 0x6d, 0x73, 0x65, 0x72, 0x69, 0x61, 0x6c, \
	0x5f, 0x6e, 0x75, 0x6d, 0x62, 0x65, 0x72, 0xf6, \
	0xa1, 0x66, 0x73, 0x79, 0x73, 0x74, 0x65, 0x6d, \
	0x84, 0xa1, 0x66, 0x75, 0x70, 0x74, 0x69, 0x6d, \
	0x65, 0xf6, 0xa1, 0x6c, 0x76, 0x6f, 0x6c, 0x74, \
	0x61, 0x67, 0x65, 0x5f, 0x6c, 0x6f, 0x61, 0x64, \
	0x82, 0xa1, 0x64, 0x24, 0x64, 0x69, 0x76, 0x19, \
	0x03, 0xe8, 0xa1, 0x64, 0x24, 0x66, 0x70, 0x70, \
	0x02, 0xa1, 0x6c, 0x76, 0x6f, 0x6c, 0x74, 0x61, \
	0x67, 0x65, 0x5f, 0x72, 0x65, 0x73, 0x74, 0x82, \
	0xa1, 0x64, 0x24, 0x64, 0x69, 0x76, 0x19, 0x03, \
	0xe8, 0xa1, 0x64, 0x24, 0x66, 0x70, 0x70, 0x02, \
	0xa1, 0x6c, 0x63, 0x75, 0x72, 0x72, 0x65, 0x6e, \
	0x74, 0x5f, 0x6c, 0x6f, 0x61, 0x64, 0xf6, 0xa1, \
	0x67, 0x6e, 0x65, 0x74, 0x77, 0x6f, 0x72, 0x6b, \
	0x81, 0xa1, 0x69, 0x70, 0x61, 0x72, 0x61, 0x6d, \
	0x65, 0x74, 0x65, 0x72, 0x89, 0xa1, 0x64, 0x65, \
	0x65, 0x73, 0x74, 0xf6, 0xa1, 0x63, 0x65, 0x63, \
	0x6c, 0xf6, 0xa1, 0x64, 0x72, 0x73, 0x72, 0x70, \
	0xf6, 0xa1, 0x64, 0x72, 0x73, 0x72, 0x71, 0xf6, \
	0xa1, 0x63, 0x73, 0x6e, 0x72, 0xf6, 0xa1, 0x64, \
	0x70, 0x6c, 0x6d, 0x6e, 0xf6, 0xa1, 0x63, 0x63, \
	0x69, 0x64, 0xf6, 0xa1, 0x64, 0x62, 0x61, 0x6e, \
	0x64, 0xf6, 0xa1, 0x66, 0x65, 0x61, 0x72, 0x66, \
	0x63, 0x6e, 0xf6, 0xa1, 0x6b, 0x74, 0x68, 0x65, \
	0x72, 0x6d, 0x6f, 0x6d, 0x65, 0x74, 0x65, 0x72, \
	0x81, 0xa1, 0x6b, 0x74, 0x65, 0x6d, 0x70, 0x65, \
	0x72, 0x61, 0x74, 0x75, 0x72, 0x65, 0x82, 0xa1, \
	0x64, 0x24, 0x64, 0x69, 0x76, 0x18, 0x64, 0xa1, \
	0x64, 0x24, 0x66, 0x70, 0x70, 0x02, 0xa1, 0x6d, \
	0x61, 0x63, 0x63, 0x65, 0x6c, 0x65, 0x72, 0x6f, \
	0x6d, 0x65, 0x74, 0x65, 0x72, 0x84, 0xa1, 0x67, \
	0x61, 0x63, 0x63, 0x65, 0x6c, 0x5f, 0x78, 0x82, \
	0xa1, 0x64, 0x24, 0x64, 0x69, 0x76, 0x19, 0x03, \
	0xe8, 0xa1, 0x64, 0x24, 0x66, 0x70, 0x70, 0x02, \
	0xa1, 0x67, 0x61, 0x63, 0x63, 0x65, 0x6c, 0x5f, \
	0x79, 0x82, 0xa1, 0x64, 0x24, 0x64, 0x69, 0x76, \
	0x19, 0x03, 0xe8, 0xa1, 0x64, 0x24, 0x66, 0x70, \
	0x70, 0x02, 0xa1, 0x67, 0x61, 0x63, 0x63, 0x65, \
	0x6c, 0x5f, 0x7a, 0x82, 0xa1, 0x64, 0x24, 0x64, \
	0x69, 0x76, 0x19, 0x03, 0xe8, 0xa1, 0x64, 0x24, \
	0x66, 0x70, 0x70, 0x02, 0xa1, 0x6b, 0x6f, 0x72, \
	0x69, 0x65, 0x6e, 0x74, 0x61, 0x74, 0x69, 0x6f, \
	0x6e, 0xf6, 0xa1, 0x66, 0x62, 0x61, 0x63, 0x6b, \
	0x75, 0x70, 0x84, 0xa1, 0x6c, 0x6c, 0x69, 0x6e, \
	0x65, 0x5f, 0x76, 0x6f, 0x6c, 0x74, 0x61, 0x67, \
	0x65, 0xf6, 0xa1, 0x6c, 0x62, 0x61, 0x74, 0x74, \
	0x5f, 0x76, 0x6f, 0x6c, 0x74, 0x61, 0x67, 0x65, \
	0xf6, 0xa1, 0x65, 0x73, 0x74, 0x61, 0x74, 0x65, \
	0x81, 0xa1, 0x65, 0x24, 0x65, 0x6e, 0x75, 0x6d, \
	0x82, 0x6c, 0x64, 0x69, 0x73, 0x63, 0x6f, 0x6e, \
	0x6e, 0x65, 0x63, 0x74, 0x65, 0x64, 0x69, 0x63, \
	0x6f, 0x6e, 0x6e, 0x65, 0x63, 0x74, 0x65, 0x64, \
	0xa1, 0x66, 0x65, 0x76, 0x65, 0x6e, 0x74, 0x73, \
	0x82, 0xa1, 0x64, 0x24, 0x6b, 0x65, 0x79, 0x66, \
	0x65, 0x76, 0x65, 0x6e, 0x74, 0x73, 0xa1, 0x64, \
	0x24, 0x74, 0x73, 0x6f, 0x81, 0xa1, 0x64, 0x74, \
	0x79, 0x70, 0x65, 0x81, 0xa1, 0x65, 0x24, 0x65, \
	0x6e, 0x75, 0x6d, 0x82, 0x6c, 0x64, 0x69, 0x73, \
	0x63, 0x6f, 0x6e, 0x6e, 0x65, 0x63, 0x74, 0x65, \
	0x64, 0x69, 0x63, 0x6f, 0x6e, 0x6e, 0x65, 0x63, \
	0x74, 0x65, 0x64, 0xa1, 0x67, 0x62, 0x75, 0x74, \
	0x74, 0x6f, 0x6e, 0x73, 0x85, 0xa1, 0x66, 0x62, \
	0x75, 0x74, 0x74, 0x6f, 0x6e, 0x81, 0xa1, 0x65, \
	0x24, 0x65, 0x6e, 0x75, 0x6d, 0x85, 0x68, 0x62, \
	0x75, 0x74, 0x74, 0x6f, 0x6e, 0x5f, 0x78, 0x68, \
	0x62, 0x75, 0x74, 0x74, 0x6f, 0x6e, 0x5f, 0x31, \
	0x68, 0x62, 0x75, 0x74, 0x74, 0x6f, 0x6e, 0x5f, \
	0x32, 0x68, 0x62, 0x75, 0x74, 0x74, 0x6f, 0x6e, \
	0x5f, 0x33, 0x68, 0x62, 0x75, 0x74, 0x74, 0x6f, \
	0x6e, 0x5f, 0x34, 0xa1, 0x6b, 0x63, 0x6f, 0x75, \
	0x6e, 0x74, 0x5f, 0x63, 0x6c, 0x69, 0x63, 0x6b, \
	0xf6, 0xa1, 0x6a, 0x63, 0x6f, 0x75, 0x6e, 0x74, \
	0x5f, 0x68, 0x6f, 0x6c, 0x64, 0xf6, 0xa1, 0x66, \
	0x65, 0x76, 0x65, 0x6e, 0x74, 0x73, 0x81, 0xa1, \
	0x64, 0x24, 0x74, 0x73, 0x6f, 0x81, 0xa1, 0x64, \
	0x74, 0x79, 0x70, 0x65, 0x81, 0xa1, 0x65, 0x24, \
	0x65, 0x6e, 0x75, 0x6d, 0x82, 0x67, 0x63, 0x6c, \
	0x69, 0x63, 0x6b, 0x65, 0x64, 0x64, 0x68, 0x65, \
	0x6c, 0x64, 0xa1, 0x6a, 0x6c, 0x61, 0x73, 0x74, \
	0x5f, 0x70, 0x72, 0x65, 0x73, 0x73, 0x82, 0xa1, \
	0x64, 0x74, 0x79, 0x70, 0x65, 0x81, 0xa1, 0x65, \
	0x24, 0x65, 0x6e, 0x75, 0x6d, 0x82, 0x67, 0x63, \
	0x6c, 0x69, 0x63, 0x6b, 0x65, 0x64, 0x64, 0x68, \
	0x65, 0x6c, 0x64, 0xa1, 0x69, 0x74, 0x69, 0x6d, \
	0x65, 0x73, 0x74, 0x61, 0x6d, 0x70, 0xf6, 0xa1, \
	0x66, 0x74, 0x61, 0x6d, 0x70, 0x65, 0x72, 0x82, \
	0xa1, 0x65, 0x73, 0x74, 0x61, 0x74, 0x65, 0x81, \
	0xa1, 0x65, 0x24, 0x65, 0x6e, 0x75, 0x6d, 0x82, \
	0x68, 0x69, 0x6e, 0x61, 0x63, 0x74, 0x69, 0x76, \
	0x65, 0x66, 0x61, 0x63, 0x74, 0x69, 0x76, 0x65, \
	0xa1, 0x66, 0x65, 0x76, 0x65, 0x6e, 0x74, 0x73, \
	0x82, 0xa1, 0x64, 0x24, 0x6b, 0x65, 0x79, 0x66, \
	0x65, 0x76, 0x65, 0x6e, 0x74, 0x73, 0xa1, 0x64, \
	0x24, 0x74, 0x73, 0x6f, 0x81, 0xa1, 0x64, 0x74, \
	0x79, 0x70, 0x65, 0x81, 0xa1, 0x65, 0x24, 0x65, \
	0x6e, 0x75, 0x6d, 0x82, 0x6b, 0x64, 0x65, 0x61, \
	0x63, 0x74, 0x69, 0x76, 0x61, 0x74, 0x65, 0x64, \
	0x69, 0x61, 0x63, 0x74, 0x69, 0x76, 0x61, 0x74, \
	0x65, 0x64, 0xa1, 0x68, 0x62, 0x6c, 0x65, 0x5f, \
	0x74, 0x61, 0x67, 0x73, 0x85, 0xa1, 0x64, 0x61, \
	0x64, 0x64, 0x72, 0xf6, 0xa1, 0x64, 0x72, 0x73, \
	0x73, 0x69, 0xf6, 0xa1, 0x67, 0x76, 0x6f, 0x6c, \
	0x74, 0x61, 0x67, 0x65, 0x82, 0xa1, 0x64, 0x24, \
	0x64, 0x69, 0x76, 0x18, 0x64, 0xa1, 0x64, 0x24, \
	0x66, 0x70, 0x70, 0x02, 0xa1, 0x6b, 0x74, 0x65, \
	0x6d, 0x70, 0x65, 0x72, 0x61, 0x74, 0x75, 0x72, \
	0x65, 0x81, 0xa1, 0x6c, 0x6d, 0x65, 0x61, 0x73, \
	0x75, 0x72, 0x65, 0x6d, 0x65, 0x6e, 0x74, 0x73, \
	0x81, 0xa1, 0x64, 0x24, 0x74, 0x73, 0x70, 0x84, \
	0xa1, 0x63, 0x6d, 0x69, 0x6e, 0x82, 0xa1, 0x64, \
	0x24, 0x64, 0x69, 0x76, 0x18, 0x64, 0xa1, 0x64, \
	0x24, 0x66, 0x70, 0x70, 0x02, 0xa1, 0x63, 0x6d, \
	0x61, 0x78, 0x82, 0xa1, 0x64, 0x24, 0x64, 0x69, \
	0x76, 0x18, 0x64, 0xa1, 0x64, 0x24, 0x66, 0x70, \
	0x70, 0x02, 0xa1, 0x63, 0x61, 0x76, 0x67, 0x82, \
	0xa1, 0x64, 0x24, 0x64, 0x69, 0x76, 0x18, 0x64, \
	0xa1, 0x64, 0x24, 0x66, 0x70, 0x70, 0x02, 0xa1, \
	0x63, 0x6d, 0x64, 0x6e, 0x82, 0xa1, 0x64, 0x24, \
	0x64, 0x69, 0x76, 0x18, 0x64, 0xa1, 0x64, 0x24, \
	0x66, 0x70, 0x70, 0x02, 0xa1, 0x68, 0x68, 0x75, \
	0x6d, 0x69, 0x64, 0x69, 0x74, 0x79, 0x81, 0xa1, \
	0x6c, 0x6d, 0x65, 0x61, 0x73, 0x75, 0x72, 0x65, \
	0x6d, 0x65, 0x6e, 0x74, 0x73, 0x81, 0xa1, 0x64, \
	0x24, 0x74, 0x73, 0x70, 0x84, 0xa1, 0x63, 0x6d, \
	0x69, 0x6e, 0x82, 0xa1, 0x64, 0x24, 0x64, 0x69, \
	0x76, 0x18, 0x64, 0xa1, 0x64, 0x24, 0x66, 0x70, \
	0x70, 0x02, 0xa1, 0x63, 0x6d, 0x61, 0x78, 0x82, \
	0xa1, 0x64, 0x24, 0x64, 0x69, 0x76, 0x18, 0x64, \
	0xa1, 0x64, 0x24, 0x66, 0x70, 0x70, 0x02, 0xa1, \
	0x63, 0x61, 0x76, 0x67, 0x82, 0xa1, 0x64, 0x24, \
	0x64, 0x69, 0x76, 0x18, 0x64, 0xa1, 0x64, 0x24, \
	0x66, 0x70, 0x70, 0x02, 0xa1, 0x63, 0x6d, 0x64, \
	0x6e, 0x82, 0xa1, 0x64, 0x24, 0x64, 0x69, 0x76, \
	0x18, 0x64, 0xa1, 0x64, 0x24, 0x66, 0x70, 0x70, \
	0x02, \
}

#define CLOUD_ENCODER_BUFFER { \
	0xa4, 0x67, 0x76, 0x65, 0x72, 0x73, 0x69, 0x6f, \
	0x6e, 0x02, 0x64, 0x74, 0x79, 0x70, 0x65, 0x67, \
	0x65, 0x6e, 0x63, 0x6f, 0x64, 0x65, 0x72, 0x64, \
	0x6e, 0x61, 0x6d, 0x65, 0x78, 0x1e, 0x63, 0x6f, \
	0x6d, 0x2e, 0x68, 0x61, 0x72, 0x64, 0x77, 0x61, \
	0x72, 0x69, 0x6f, 0x2e, 0x63, 0x68, 0x65, 0x73, \
	0x74, 0x65, 0x72, 0x2e, 0x61, 0x70, 0x70, 0x2e, \
	0x70, 0x75, 0x73, 0x68, 0x66, 0x73, 0x63, 0x68, \
	0x65, 0x6d, 0x61, 0x86, 0xa1, 0x67, 0x76, 0x65, \
	0x72, 0x73, 0x69, 0x6f, 0x6e, 0x81, 0xa1, 0x65, \
	0x24, 0x74, 0x79, 0x70, 0x65, 0x63, 0x69, 0x6e, \
	0x74, 0xa1, 0x6c, 0x6c, 0x65, 0x64, 0x5f, 0x62, \
	0x75, 0x74, 0x74, 0x6f, 0x6e, 0x5f, 0x30, 0x81, \
	0xa1, 0x65, 0x24, 0x74, 0x79, 0x70, 0x65, 0x63, \
	0x69, 0x6e, 0x74, 0xa1, 0x6c, 0x6c, 0x65, 0x64, \
	0x5f, 0x62, 0x75, 0x74, 0x74, 0x6f, 0x6e, 0x5f, \
	0x31, 0x81, 0xa1, 0x65, 0x24, 0x74, 0x79, 0x70, \
	0x65, 0x63, 0x69, 0x6e, 0x74, 0xa1, 0x6c, 0x6c, \
	0x65, 0x64, 0x5f, 0x62, 0x75, 0x74, 0x74, 0x6f, \
	0x6e, 0x5f, 0x32, 0x81, 0xa1, 0x65, 0x24, 0x74, \
	0x79, 0x70, 0x65, 0x63, 0x69, 0x6e, 0x74, 0xa1, \
	0x6c, 0x6c, 0x65, 0x64, 0x5f, 0x62, 0x75, 0x74, \
	0x74, 0x6f, 0x6e, 0x5f, 0x33, 0x81, 0xa1, 0x65, \
	0x24, 0x74, 0x79, 0x70, 0x65, 0x63, 0x69, 0x6e, \
	0x74, 0xa1, 0x6c, 0x6c, 0x65, 0x64, 0x5f, 0x62, \
	0x75, 0x74, 0x74, 0x6f, 0x6e, 0x5f, 0x34, 0x81, \
	0xa1, 0x65, 0x24, 0x74, 0x79, 0x70, 0x65, 0x63, \
	0x69, 0x6e, 0x74, \
}

#ifdef __cplusplus
}
#endif

#endif /* CODEC_H_ */
```

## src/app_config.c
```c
/*
 * Copyright (c) 2024 HARDWARIO a.s.
 *
 * SPDX-License-Identifier: LicenseRef-HARDWARIO-5-Clause
 */

#include "app_config.h"

/* CHESTER includes */
#include <chester/ctr_config.h>

/* Zephyr includes */
#include <zephyr/init.h>
#include <zephyr/kernel.h>
#include <zephyr/logging/log.h>
#include <zephyr/settings/settings.h>
#include <zephyr/shell/shell.h>

/* Standard includes */
#include <stdbool.h>
#include <stdio.h>
#include <stdlib.h>
#include <string.h>

/* ### Preserved code "includes" (begin) */
#include <ctype.h>
#include <errno.h>
#if defined(FEATURE_HARDWARE_CHESTER_Z)
static int button_color_parse_cb(const struct shell *shell, char *argv,
				 const struct ctr_config_item *item);
#endif /* defined(FEATURE_HARDWARE_CHESTER_Z) */
/* ^^^ Preserved code "includes" (end) */

LOG_MODULE_REGISTER(app_config, LOG_LEVEL_DBG);

#define SETTINGS_PFX "app-push"

struct app_config g_app_config;

static struct app_config m_config_interim;

/* clang-format off */
const struct ctr_config_item items[] = {
	CTR_CONFIG_ITEM_INT("interval-sample", m_config_interim.interval_sample, 1, 86400, "Get/Set sample interval in seconds.", 60),
	CTR_CONFIG_ITEM_INT("interval-aggreg", m_config_interim.interval_aggreg, 1, 86400, "Get/Set aggregate interval in seconds.", 300),
	CTR_CONFIG_ITEM_INT("interval-report", m_config_interim.interval_report, 30, 86400, "Get/Set report interval in seconds.", 1800),
	CTR_CONFIG_ITEM_INT("interval-poll", m_config_interim.interval_poll, 0, 86400, "Get/Set poll interval in seconds (disabled if 0).", 0),
	CTR_CONFIG_ITEM_INT("downlink-wdg-interval", m_config_interim.downlink_wdg_interval, 0, 1209600, "Get/Set downlink watchdog interval in seconds (disabled if 0).", 129600),

#if defined(FEATURE_HARDWARE_CHESTER_Z)
	CTR_CONFIG_ITEM_INT("event-report-delay", m_config_interim.event_report_delay, 1, 86400, "Get/Set event report delay in seconds.", 1),
	CTR_CONFIG_ITEM_INT("event-report-rate", m_config_interim.event_report_rate, 1, 3600, "Get/Set event report rate in reports per hour.", 30),
	CTR_CONFIG_ITEM_ENUM("led-mode", m_config_interim.led_mode, ((const char*[]){"multiple", "single"}), "Get/Set button LED mode (multiple LEDs lit independently, or a single exclusive LED)", 0),
	
	CTR_CONFIG_ITEM_INT("led-timeout", m_config_interim.led_timeout, 0, 86400, "Get/Set button LED timeout in seconds (0 = stay lit until cleared by downlink).", 5),
#endif /* defined(FEATURE_HARDWARE_CHESTER_Z) */

	CTR_CONFIG_ITEM_ENUM("mode", m_config_interim.mode, ((const char*[]){"none", "lte", "lrw"}), "Set communication mode", APP_CONFIG_MODE_NONE),

	/* ### Preserved code "config" (begin) */
#if defined(FEATURE_HARDWARE_CHESTER_Z)
	/* Per-button LED color: click_color,hold_color, each a 24-bit RRGGBB hex color */
	CTR_CONFIG_ITEM_STRING_PARSE_CB("button-x", m_config_interim.button_color_str[0],
		"Button x: click_color,hold_color (24-bit RRGGBB hex, e.g. 00FF00,FF0000)", "00FF00,FF0000", button_color_parse_cb),
	CTR_CONFIG_ITEM_STRING_PARSE_CB("button-1", m_config_interim.button_color_str[1],
		"Button 1: click_color,hold_color (24-bit RRGGBB hex, e.g. 00FF00,FF0000)", "00FF00,FF0000", button_color_parse_cb),
	CTR_CONFIG_ITEM_STRING_PARSE_CB("button-2", m_config_interim.button_color_str[2],
		"Button 2: click_color,hold_color (24-bit RRGGBB hex, e.g. 00FF00,FF0000)", "00FF00,FF0000", button_color_parse_cb),
	CTR_CONFIG_ITEM_STRING_PARSE_CB("button-3", m_config_interim.button_color_str[3],
		"Button 3: click_color,hold_color (24-bit RRGGBB hex, e.g. 00FF00,FF0000)", "00FF00,FF0000", button_color_parse_cb),
	CTR_CONFIG_ITEM_STRING_PARSE_CB("button-4", m_config_interim.button_color_str[4],
		"Button 4: click_color,hold_color (24-bit RRGGBB hex, e.g. 00FF00,FF0000)", "00FF00,FF0000", button_color_parse_cb),
#endif /* defined(FEATURE_HARDWARE_CHESTER_Z) */
/* ^^^ Preserved code "config" (end) */

};
/* clang-format on */

/* ### Preserved code "function" (begin) */
#if defined(FEATURE_HARDWARE_CHESTER_Z)

/* Parse exactly 6 hex digits ("RRGGBB") into a 24-bit color. */
static int parse_hex_color(const char *str, struct app_config_led_color *color)
{
	if (strlen(str) != 6) {
		return -EINVAL;
	}

	for (int i = 0; i < 6; i++) {
		if (!isxdigit((unsigned char)str[i])) {
			return -EINVAL;
		}
	}

	char byte_str[3] = {0};
	unsigned long value;

	memcpy(byte_str, &str[0], 2);
	value = strtoul(byte_str, NULL, 16);
	color->r = (uint8_t)value;

	memcpy(byte_str, &str[2], 2);
	value = strtoul(byte_str, NULL, 16);
	color->g = (uint8_t)value;

	memcpy(byte_str, &str[4], 2);
	value = strtoul(byte_str, NULL, 16);
	color->b = (uint8_t)value;

	return 0;
}

/* Parse "click_color,hold_color" (each a 6-hex-digit RRGGBB color, e.g.
 * "00FF00,FF0000") into click/hold colors. */
static int parse_button_color_string(const char *input, struct app_config_led_color *click_color,
				     struct app_config_led_color *hold_color)
{
	char buf[APP_CONFIG_BUTTON_COLOR_STR_SIZE];
	char *saveptr;
	char *part;

	if (!input || !input[0]) {
		return -EINVAL;
	}

	strncpy(buf, input, sizeof(buf) - 1);
	buf[sizeof(buf) - 1] = '\0';

	part = strtok_r(buf, ",", &saveptr);
	if (!part || parse_hex_color(part, click_color)) {
		return -EINVAL;
	}

	part = strtok_r(NULL, ",", &saveptr);
	if (!part || parse_hex_color(part, hold_color)) {
		return -EINVAL;
	}

	if (strtok_r(NULL, ",", &saveptr)) {
		return -EINVAL; /* too many parts */
	}

	return 0;
}

/* Button color parse callback - validates and stores string */
static int button_color_parse_cb(const struct shell *shell, char *argv,
				 const struct ctr_config_item *item)
{
	size_t len = strlen(argv);

	if (len >= item->size) {
		shell_error(shell, "Value too long (max %d)", item->size - 1);
		return -ENOMEM;
	}

	struct app_config_led_color click_color, hold_color;
	int ret = parse_button_color_string(argv, &click_color, &hold_color);
	if (ret) {
		shell_error(shell, "Invalid format. Use: click_color,hold_color");
		shell_print(shell, "  Each color is 6 hex digits, RRGGBB (e.g. 00FF00,FF0000)");
		return ret;
	}

	strncpy(item->variable, argv, item->size - 1);
	((char *)item->variable)[item->size - 1] = '\0';

	return 0;
}

#endif /* defined(FEATURE_HARDWARE_CHESTER_Z) */
/* ^^^ Preserved code "function" (end) */

int app_config_cmd_config_show(const struct shell *shell, size_t argc, char **argv)
{
	/* ### Preserved code "app_config_cmd_config_show start" (begin) */
	/* ^^^ Preserved code "app_config_cmd_config_show start" (end) */

	for (int i = 0; i < ARRAY_SIZE(items); i++) {
		ctr_config_show_item(shell, &items[i]);
	}

	/* ### Preserved code "app_config_cmd_config_show end" (begin) */
	/* ^^^ Preserved code "app_config_cmd_config_show end" (end) */

	return 0;
}

int app_config_cmd_config(const struct shell *shell, size_t argc, char **argv)
{
	/* ### Preserved code "app_config_cmd_config" (begin) */
	/* ^^^ Preserved code "app_config_cmd_config" (end) */
	return ctr_config_cmd_config(items, ARRAY_SIZE(items), shell, argc, argv);
}

static int h_set(const char *key, size_t len, settings_read_cb read_cb, void *cb_arg)
{
	/* ### Preserved code "h_set" (begin) */
	/* ^^^ Preserved code "h_set" (end) */

	return ctr_config_h_set(items, ARRAY_SIZE(items), key, len, read_cb, cb_arg);
}

static int h_commit(void)
{
	LOG_DBG("Loaded settings in full");

/* ### Preserved code "h_commit" (begin) */
#if defined(FEATURE_HARDWARE_CHESTER_Z)
	for (int i = 0; i < APP_DATA_BUTTON_COUNT; i++) {
		if (parse_button_color_string(m_config_interim.button_color_str[i],
					      &m_config_interim.button_click_color[i],
					      &m_config_interim.button_hold_color[i])) {
			LOG_WRN("Invalid button-%d color string, defaulting to off", i);
			m_config_interim.button_click_color[i] =
				(struct app_config_led_color){0, 0, 0};
			m_config_interim.button_hold_color[i] =
				(struct app_config_led_color){0, 0, 0};
		}
	}
#endif  /* defined(FEATURE_HARDWARE_CHESTER_Z) */
	/* ^^^ Preserved code "h_commit" (end) */

	memcpy(&g_app_config, &m_config_interim, sizeof(g_app_config));
	return 0;
}

static int h_export(int (*export_func)(const char *name, const void *val, size_t val_len))
{
	/* ### Preserved code "h_export" (begin) */
	/* ^^^ Preserved code "h_export" (end) */

	return ctr_config_h_export(items, ARRAY_SIZE(items), export_func);
}

static int init(void)
{
	int ret;

	LOG_INF("System initialization");

	for (int i = 0; i < ARRAY_SIZE(items); i++) {
		ctr_config_init_item(&items[i]);
	}

	static struct settings_handler sh = {
		.name = SETTINGS_PFX,
		.h_set = h_set,
		.h_commit = h_commit,
		.h_export = h_export,
	};

	ret = settings_register(&sh);
	if (ret) {
		LOG_ERR("Call `settings_register` failed: %d", ret);
		return ret;
	}

	ret = settings_load_subtree(SETTINGS_PFX);
	if (ret) {
		LOG_ERR("Call `settings_load_subtree` failed: %d", ret);
		return ret;
	}

	/* ### Preserved code "init" (begin) */
	/* ^^^ Preserved code "init" (end) */

	ctr_config_append_show(SETTINGS_PFX, app_config_cmd_config_show);

	return 0;
}

SYS_INIT(init, APPLICATION, CONFIG_APPLICATION_INIT_PRIORITY);
```

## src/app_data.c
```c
/*
 * Copyright (c) 2024 HARDWARIO a.s.
 *
 * SPDX-License-Identifier: LicenseRef-HARDWARIO-5-Clause
 */

#include "app_data.h"

/* Zephyr includes */
#include <zephyr/kernel.h>

/* Standard includes */
#include <limits.h>
#include <math.h>
#include <stdbool.h>

/*
 * Keep `g_app_data` zero-initialized so it is placed in `.bss` (RAM only).
 * Non-zero initializers (NAN, INT_MAX) would move the whole structure to
 * `.data`, which occupies the same amount of FLASH and is copied on boot.
 * Non-zero defaults are set at runtime in `app_data_init()` instead.
 */
struct app_data g_app_data;

static K_MUTEX_DEFINE(m_lock);

int app_data_init(void)
{
	app_data_lock();

	g_app_data.accel_acceleration_x = NAN;
	g_app_data.accel_acceleration_y = NAN;
	g_app_data.accel_acceleration_z = NAN;
	g_app_data.accel_orientation = INT_MAX;
	g_app_data.therm_temperature = NAN;

#if defined(FEATURE_SUBSYSTEM_BLE_TAG)
	for (int i = 0; i < CTR_BLE_TAG_COUNT; i++) {
		g_app_data.ble_tag.sensor[i].last_sample_temperature = NAN;
		g_app_data.ble_tag.sensor[i].last_sample_humidity = NAN;
	}
#endif /* defined(FEATURE_SUBSYSTEM_BLE_TAG) */

	app_data_unlock();

	return 0;
}

void app_data_lock(void)
{
	k_mutex_lock(&m_lock, K_FOREVER);
}

void app_data_unlock(void)
{
	k_mutex_unlock(&m_lock);
}
```
